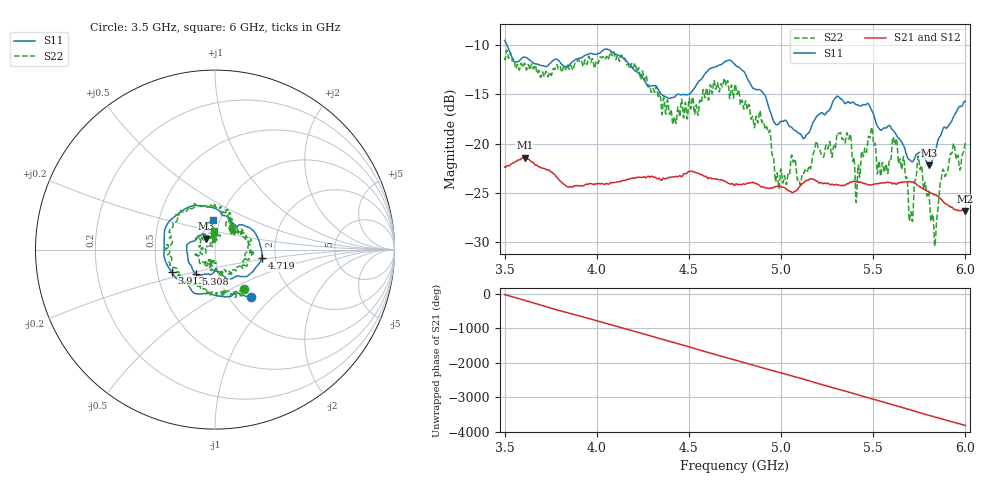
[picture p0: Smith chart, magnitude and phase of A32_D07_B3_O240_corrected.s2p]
! Created with skrf 1.9.0 (http://scikit-rf.org).
# Hz S RI R 50.0
!freq ReS11 ImS11 ReS21 ImS21 ReS12 ImS12 ReS22 ImS22
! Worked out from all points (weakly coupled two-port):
!   1601 points, 3.5 GHz to 6 GHz, reference 50 ohm
!   highest |S21| = -21.43 dB at 3.609 GHz (marker M1); lowest = -26.8 dB at 6 GHz (marker M2)
!   lowest |S11| = -22.2 dB at 5.805 GHz (marker M3), VSWR 1.17, Z = 45.1 + j5.55 ohm
!   |S11| at or under -10 dB: 3.513 GHz to end of sweep
!   |S22| runs from -30.4 to -10.5 dB; largest |S21 - S12| = 0.00094
!   S11 on the Smith chart (normalised r, x): 3.5 GHz: 1.26, -0.75; 3.913 GHz: 0.60, -0.16; 4.719 GHz: 1.70, -0.17; 5.308 GHz: 0.78, -0.22; 6 GHz: 0.93, +0.31
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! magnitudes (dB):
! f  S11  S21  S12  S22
! 3.5 GHz  -9.5  -22.4  -22.3  -11.3
! 3.609 GHz  -11.2  -21.4  -21.4  -11.8
! 3.913 GHz  -11.3  -24.3  -24.2  -11.5
! 3.917 GHz  -11.3  -24.3  -24.3  -11.6
! 4.334 GHz  -14.5  -23.5  -23.5  -15.4
! 4.422 GHz  -15.3  -23.3  -23.3  -17.3
! 4.719 GHz  -11.5  -24.0  -24.1  -15.1
! 4.75 GHz  -12.0  -24.2  -24.1  -14.0
! 4.931 GHz  -16.2  -24.5  -24.5  -18.9
! 4.98 GHz  -18.1  -24.3  -24.3  -23.1
! 5.167 GHz  -18.1  -23.6  -23.6  -21.9
! 5.308 GHz  -15.2  -24.2  -24.1  -18.9
! 5.414 GHz  -16.1  -23.9  -23.9  -23.2
! 5.484 GHz  -16.4  -24.2  -24.2  -19.2
! 5.584 GHz  -18.2  -23.9  -23.9  -22.1
! 5.619 GHz  -18.9  -24.1  -24.1  -20.1
! 5.705 GHz  -21.7  -23.9  -23.9  -26.9
! 5.752 GHz  -20.9  -24.3  -24.3  -22.3
! 5.805 GHz  -22.2  -24.9  -24.9  -25.6
! 5.839 GHz  -20.6  -25.2  -25.2  -29.5
! 5.873 GHz  -18.8  -25.7  -25.7  -23.0
! 6 GHz  -15.7  -26.8  -26.8  -19.8
